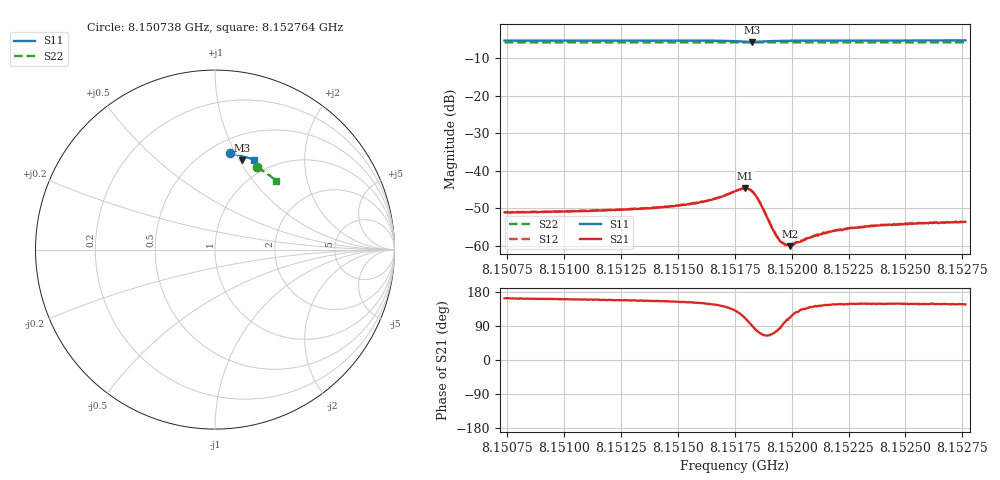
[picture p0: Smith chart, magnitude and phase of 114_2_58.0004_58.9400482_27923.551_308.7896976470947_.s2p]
#  HZ  S  RI  R  50.00
! Rohde & Schwarz Vector Network Analyzer
! Rohde-Schwarz,ZNB20-2Port,1311601062101988,3.16
! Created: UTC 3/21/2024, 12:55:20 AM
! freq[Hz]  re:S11  im:S11  re:S21  im:S21  re:S12  im:S12  re:S22  im:S22
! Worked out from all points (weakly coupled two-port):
!   401 points, 8.150738 GHz to 8.152764 GHz, reference 50 ohm
!   highest |S21| = -44.71 dB at 8.151796 GHz (marker M1); lowest = -60.2 dB at 8.151994 GHz (marker M2)
!   lowest |S11| = -5.7 dB at 8.151827 GHz (marker M3), VSWR 3.17, Z = 37.6 + j51.4 ohm
!   |S11| at or under -10 dB: nowhere
!   |S22| runs from -5.8 to -5.8 dB; largest |S21 - S12| = 0.00013
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8.1507379e9  0.0845 0.5355  -0.00265 0.000822  -0.00264 0.00091  0.234 0.4583
8.1510772e9  0.1086 0.5317  -0.00271 0.000994  -0.00271 0.00108  0.2531 0.4479
8.1514165e9  0.1334 0.5263  -0.00291 0.00133  -0.00291 0.00143  0.2717 0.4362
8.1515431e9  0.143 0.5232  -0.00314 0.00166  -0.00316 0.00172  0.2787 0.4316
8.1516241e9  0.15 0.5203  -0.00333 0.00203  -0.00333 0.00211  0.283 0.4286
8.1516951e9  0.1568 0.5159  -0.00357 0.00276  -0.00356 0.00286  0.2867 0.4258
8.1517508e9  0.161 0.5089  -0.00344 0.00402  -0.00342 0.00414  0.2896 0.4237
8.1517963e9  0.1583 0.4999  -0.00196 0.00548  -0.00188 0.00549  0.2915 0.4217
8.1518115e9  0.1549 0.4981  -0.000976 0.00556  -0.000903 0.00562  0.2924 0.4211
8.1518267e9  0.1507 0.4983  5.62e-05 0.00524  0.000114 0.0053  0.2927 0.4207
8.1518419e9  0.1473 0.5007  0.000811 0.00455  0.000871 0.00457  0.2933 0.4203
8.1518571e9  0.1458 0.5042  0.00117 0.0037  0.00124 0.00374  0.2942 0.4199
8.1519179e9  0.1505 0.514  0.000555 0.00151  0.000626 0.00152  0.2975 0.4179
8.1519432e9  0.1538 0.5156  0.000163 0.00122  0.00018 0.00119  0.2989 0.4169
8.1519685e9  0.1568 0.5163  -0.000163 0.00103  -0.000135 0.00103  0.3003 0.4161
8.1519939e9  0.1598 0.5165  -0.000377 0.000904  -0.000401 0.000926  0.3017 0.415
8.1520141e9  0.1619 0.5166  -0.000608 0.000901  -0.000576 0.000877  0.3028 0.4142
8.1520901e9  0.1689 0.5156  -0.001 0.000842  -0.000998 0.000847  0.3066 0.4113
8.1521357e9  0.1726 0.5149  -0.00116 0.000853  -0.00119 0.000869  0.3089 0.4095
8.1522572e9  0.1822 0.5125  -0.00145 0.000905  -0.00145 0.000929  0.3154 0.4045
8.1524294e9  0.1944 0.5084  -0.00162 0.000987  -0.00159 0.00102  0.3236 0.3974
8.1527636e9  0.2169 0.5001  -0.00172 0.00114  -0.00174 0.00121  0.3397 0.3833
